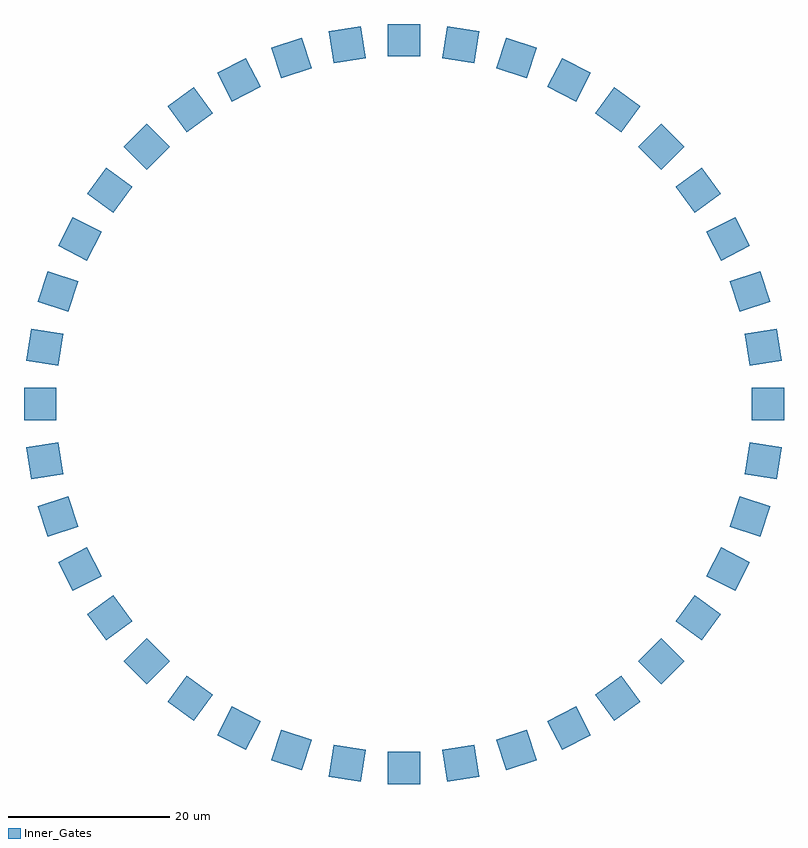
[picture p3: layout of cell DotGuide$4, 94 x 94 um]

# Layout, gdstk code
import gdstk
lib = gdstk.Library(unit=1e-6, precision=1e-09)
def R(c, l, rs):  # rectangles x0, y0, x1, y1
    for r in rs: c.add(gdstk.rectangle(r[:2], r[2:], *l))
def P(c, l, *ps):  # polygons
    for p in ps: c.add(gdstk.Polygon(p, *l))
Inner_Gates = (5, 0)

dotguide_4 = lib.new_cell('DotGuide$4')
R(dotguide_4, Inner_Gates, [(-2,-47,2,-43), (-47,-2,-43,2), (43,-2,47,2), (-2,43,2,47)])
P(dotguide_4, Inner_Gates, [(-8.702,42.158),(-9.328,46.108),(-5.377,46.734),(-4.751,42.783)],
  [(-15.19,40.277),(-16.426,44.082),(-12.622,45.318),(-11.386,41.513)],
  [(-21.304,37.405),(-23.12,40.969),(-19.556,42.785),(-17.74,39.221)],
  [(-26.893,33.612),(-29.244,36.848),(-26.008,39.199),(-23.657,35.963)],
  [(-31.82,28.991),(-34.648,31.82),(-31.82,34.648),(-28.991,31.82)],
  [(-35.963,23.657),(-39.199,26.008),(-36.848,29.244),(-33.612,26.893)],
  [(-39.221,17.74),(-42.785,19.556),(-40.969,23.12),(-37.405,21.304)],
  [(-41.513,11.386),(-45.318,12.622),(-44.082,16.426),(-40.277,15.19)],
  [(-42.783,4.751),(-46.734,5.377),(-46.108,9.328),(-42.158,8.702)],
  [(-46.108,-9.328),(-46.734,-5.377),(-42.783,-4.751),(-42.158,-8.702)],
  [(-44.082,-16.426),(-45.318,-12.622),(-41.513,-11.386),(-40.277,-15.19)],
  [(-40.969,-23.12),(-42.785,-19.556),(-39.221,-17.74),(-37.405,-21.304)],
  [(-36.848,-29.244),(-39.199,-26.008),(-35.963,-23.657),(-33.612,-26.893)],
  [(-31.82,-34.648),(-34.648,-31.82),(-31.82,-28.991),(-28.991,-31.82)],
  [(-26.008,-39.199),(-29.244,-36.848),(-26.893,-33.612),(-23.657,-35.963)],
  [(-19.556,-42.785),(-23.12,-40.969),(-21.304,-37.405),(-17.74,-39.221)],
  [(-12.622,-45.318),(-16.426,-44.082),(-15.19,-40.277),(-11.386,-41.513)],
  [(-5.377,-46.734),(-9.328,-46.108),(-8.702,-42.158),(-4.751,-42.783)],
  [(5.377,-46.734),(4.751,-42.783),(8.702,-42.158),(9.328,-46.108)],
  [(12.622,-45.318),(11.386,-41.513),(15.19,-40.277),(16.426,-44.082)],
  [(19.556,-42.785),(17.74,-39.221),(21.304,-37.405),(23.12,-40.969)],
  [(26.008,-39.199),(23.657,-35.963),(26.893,-33.612),(29.244,-36.848)],
  [(31.82,-34.648),(28.991,-31.82),(31.82,-28.991),(34.648,-31.82)],
  [(36.848,-29.244),(33.612,-26.893),(35.963,-23.657),(39.199,-26.008)],
  [(40.969,-23.12),(37.405,-21.304),(39.221,-17.74),(42.785,-19.556)],
  [(44.082,-16.426),(40.277,-15.19),(41.513,-11.386),(45.318,-12.622)],
  [(46.108,-9.328),(42.158,-8.702),(42.783,-4.751),(46.734,-5.377)],
  [(42.783,4.751),(42.158,8.702),(46.108,9.328),(46.734,5.377)],
  [(41.513,11.386),(40.277,15.19),(44.082,16.426),(45.318,12.622)],
  [(39.221,17.74),(37.405,21.304),(40.969,23.12),(42.785,19.556)],
  [(35.963,23.657),(33.612,26.893),(36.848,29.244),(39.199,26.008)],
  [(31.82,28.991),(28.991,31.82),(31.82,34.648),(34.648,31.82)],
  [(26.893,33.612),(23.657,35.963),(26.008,39.199),(29.244,36.848)],
  [(21.304,37.405),(17.74,39.221),(19.556,42.785),(23.12,40.969)],
  [(15.19,40.277),(11.386,41.513),(12.622,45.318),(16.426,44.082)],
  [(8.702,42.158),(4.751,42.783),(5.377,46.734),(9.328,46.108)])

lib.write_gds('DotGuide_4.gds')
